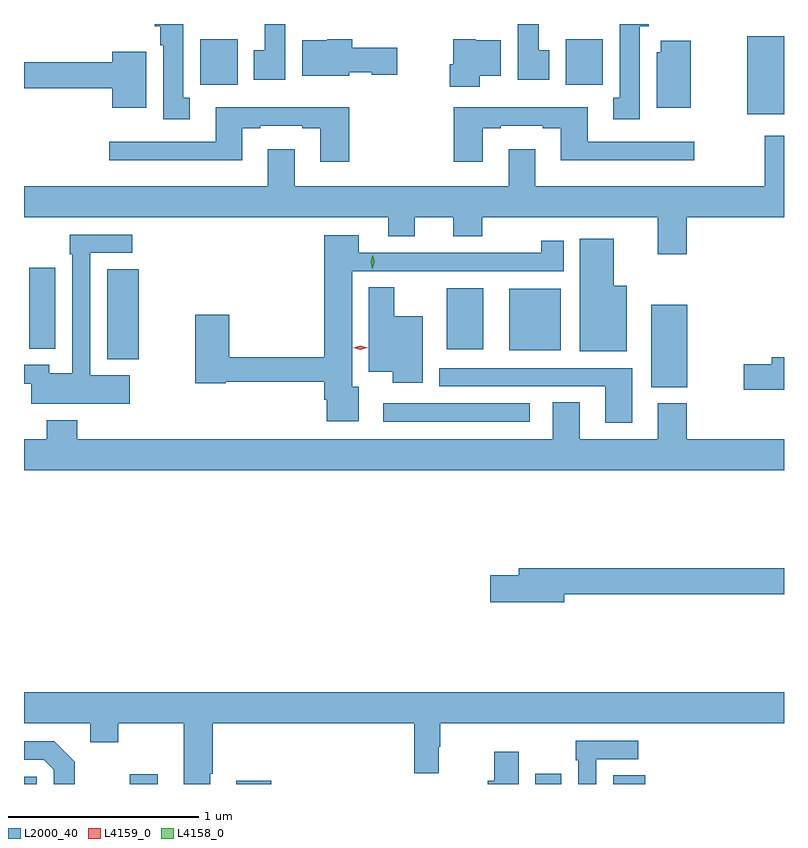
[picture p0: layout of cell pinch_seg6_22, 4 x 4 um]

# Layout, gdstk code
import gdstk
lib = gdstk.Library(unit=1e-6, precision=1e-09)
def R(c, l, rs):  # rectangles x0, y0, x1, y1
    for r in rs: c.add(gdstk.rectangle(r[:2], r[2:], *l))
def P(c, l, *ps):  # polygons
    for p in ps: c.add(gdstk.Polygon(p, *l))
L2000_40 = (2000, 40)
L4158_0 = (4158, 0)
L4159_0 = (4159, 0)

pinch_seg6_22 = lib.new_cell('pinch_seg6_22')
R(pinch_seg6_22, L2000_40, [(958.307,964.333,958.374,964.371), (958.863,964.333,959.011,964.384), (959.423,964.333,959.609,964.351), (960.998,964.333,961.135,964.387), (961.409,964.333,961.576,964.379), (960.198,966.24,960.97,966.336), (961.607,966.422,961.798,966.856), (958.745,966.569,958.912,967.043), (960.86,966.617,961.132,966.94), (960.533,966.62,960.724,966.943), (958.334,966.625,958.471,967.051), (962.114,967.859,962.307,968.269), (959.234,968.012,959.431,968.254), (961.157,968.012,961.354,968.254)])
P(pinch_seg6_22, L2000_40, [(959.179,967.946),(959.146,967.946),(959.146,968.333),(958.994,968.333),(958.994,968.322),(959.024,968.322),(959.024,968.222),(959.039,968.222),(959.039,967.833),(959.179,967.833)],
  [(961.072,968.196),(961.015,968.196),(961.015,968.333),(960.905,968.333),(960.905,968.04),(961.072,968.04)],
  [(961.549,968.322),(961.594,968.322),(961.594,968.333),(961.442,968.333),(961.442,967.946),(961.409,967.946),(961.409,967.833),(961.549,967.833)],
  [(959.683,968.333),(959.573,968.333),(959.573,968.196),(959.516,968.196),(959.516,968.04),(959.683,968.04)],
  [(960.018,968.078),(960.138,968.078),(960.138,968.066),(960.271,968.066),(960.271,968.208),(960.035,968.208),(960.035,968.254),(959.904,968.254),(959.904,968.248),(959.771,968.248),(959.771,968.06),(960.018,968.06)],
  [(960.706,968.06),(960.817,968.06),(960.817,968.248),(960.684,968.248),(960.684,968.254),(960.566,968.254),(960.566,968.121),(960.548,968.121),(960.548,968.003),(960.706,968.003)],
  [(961.816,968.245),(961.658,968.245),(961.658,968.184),(961.637,968.184),(961.637,967.892),(961.816,967.892)],
  [(958.951,968.188),(958.772,968.188),(958.772,968.132),(958.307,968.132),(958.307,967.996),(958.772,967.996),(958.772,967.892),(958.951,967.892)],
  [(960.02,967.894),(959.315,967.894),(959.315,967.713),(958.755,967.713),(958.755,967.616),(959.455,967.616),(959.455,967.785),(959.551,967.785),(959.551,967.797),(959.771,967.797),(959.771,967.785),(959.867,967.785),(959.867,967.608),(960.02,967.608)],
  [(960.721,967.785),(960.817,967.785),(960.817,967.797),(961.037,967.797),(961.037,967.785),(961.133,967.785),(961.133,967.616),(961.834,967.616),(961.834,967.713),(961.273,967.713),(961.273,967.894),(960.569,967.894),(960.569,967.608),(960.721,967.608)],
  [(961.796,967.316),(962.307,967.316),(962.307,967.744),(962.205,967.744),(962.205,967.48),(960.997,967.48),(960.997,967.675),(960.857,967.675),(960.857,967.48),(959.731,967.48),(959.731,967.675),(959.591,967.675),(959.591,967.48),(958.307,967.48),(958.307,967.316),(960.224,967.316),(960.224,967.217),(960.364,967.217),(960.364,967.316),(960.566,967.316),(960.566,967.217),(960.719,967.217),(960.719,967.316),(961.643,967.316),(961.643,967.122),(961.796,967.122)],
  [(958.864,966.484),(958.656,966.484),(958.656,967.128),(958.876,967.128),(958.876,967.224),(958.548,967.224),(958.548,967.121),(958.56,967.121),(958.56,966.496),(958.44,966.496),(958.44,966.54),(958.307,966.54),(958.307,966.439),(958.344,966.439),(958.344,966.335),(958.864,966.335)],
  [(960.07,966.424),(960.034,966.424),(960.034,967.032),(961.147,967.032),(961.147,967.192),(961.03,967.192),(961.03,967.13),(960.802,967.13),(960.802,967.128),(960.07,967.128),(960.07,967.222),(959.888,967.222),(959.888,966.578),(959.387,966.578),(959.387,966.802),(959.209,966.802),(959.209,966.442),(959.37,966.442),(959.37,966.45),(959.888,966.45),(959.888,966.356),(959.9,966.356),(959.9,966.242),(960.07,966.242)],
  [(961.48,966.955),(961.411,966.955),(961.411,967.204),(961.232,967.204),(961.232,966.611),(961.48,966.611)],
  [(960.406,966.796),(960.256,966.796),(960.256,966.947),(960.122,966.947),(960.122,966.503),(960.248,966.503),(960.248,966.444),(960.406,966.444)],
  [(962.307,966.578),(962.243,966.578),(962.243,966.542),(962.094,966.542),(962.094,966.407),(962.307,966.407)],
  [(961.507,966.522),(960.492,966.522),(960.492,966.426),(961.367,966.426),(961.367,966.234),(961.507,966.234)],
  [(962.307,966.148),(961.796,966.148),(961.796,966.337),(961.643,966.337),(961.643,966.148),(961.231,966.148),(961.231,966.341),(961.091,966.341),(961.091,966.148),(958.586,966.148),(958.586,966.247),(958.426,966.247),(958.426,966.148),(958.307,966.148),(958.307,965.984),(962.307,965.984)],
  [(961.15,965.332),(962.307,965.332),(962.307,965.468),(960.911,965.468),(960.911,965.432),(960.762,965.432),(960.762,965.29),(961.15,965.29)],
  [(959.287,964.387),(959.3,964.387),(959.3,964.652),(960.361,964.652),(960.361,964.389),(960.49,964.389),(960.49,964.529),(960.497,964.529),(960.497,964.652),(962.307,964.652),(962.307,964.816),(958.307,964.816),(958.307,964.652),(958.655,964.652),(958.655,964.553),(958.803,964.553),(958.803,964.652),(959.147,964.652),(959.147,964.333),(959.287,964.333)],
  [(961.32,964.464),(961.54,964.464),(961.54,964.56),(961.212,964.56),(961.212,964.457),(961.224,964.457),(961.224,964.333),(961.32,964.333)],
  [(958.573,964.451),(958.467,964.557),(958.307,964.557),(958.307,964.461),(958.41,964.461),(958.464,964.407),(958.464,964.333),(958.573,964.333)],
  [(960.91,964.504),(960.781,964.504),(960.781,964.351),(960.749,964.351),(960.749,964.333),(960.91,964.333)])
P(pinch_seg6_22, L4158_0, [(960.141,967.045),(960.141,967.046),(960.132,967.081),(960.142,967.117),(960.143,967.117),(960.143,967.117),(960.152,967.081),(960.141,967.046)])
P(pinch_seg6_22, L4159_0, [(960.077,966.619),(960.039,966.629),(960.039,966.629),(960.039,966.629),(960.077,966.639),(960.116,966.629),(960.116,966.629),(960.116,966.629)])

lib.write_gds('pinch_seg6_22.gds')
